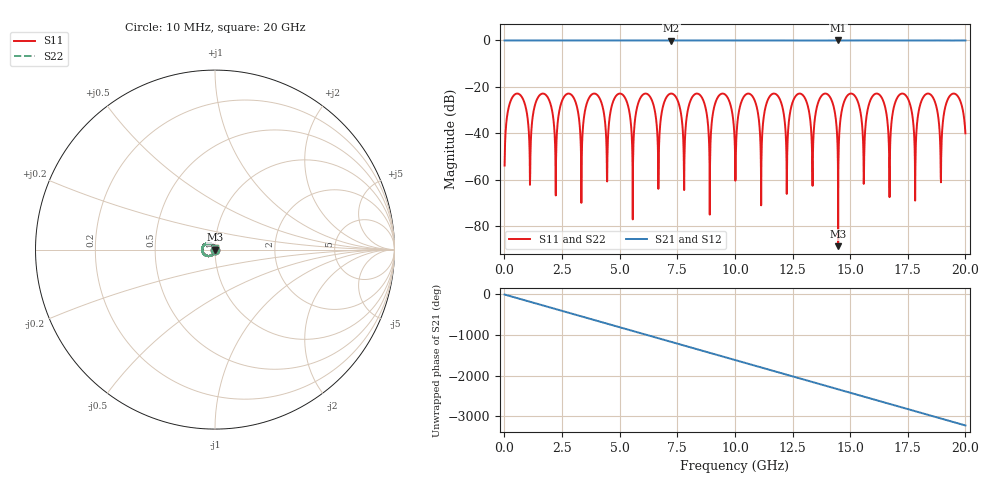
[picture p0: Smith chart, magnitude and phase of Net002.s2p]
! Touchstone generated by fitter/viewer
# HZ S  RI R 5.000000e+001
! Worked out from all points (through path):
!   2000 points, 10 MHz to 20 GHz, reference 50 ohm
!   highest |S21| = 0.00 dB at 14.48 GHz (marker M1); lowest = 0.0 dB at 7.24 GHz (marker M2)
!   group delay of S21, straight-line fit = 449 ps
!   lowest |S11| = -88.5 dB at 14.48 GHz (marker M3), VSWR 1.00, Z = 50 + j0.00377 ohm
!   |S11| at or under -10 dB: start of sweep to end of sweep
!   |S22| runs from -88.5 to -22.8 dB; largest |S21 - S12| = 0
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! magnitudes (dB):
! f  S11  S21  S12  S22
! 10 MHz  -53.8  0.0  0.0  -53.8
! 540 MHz  -22.8  0.0  0.0  -22.8
! 1.11 GHz  -62.1  0.0  0.0  -62.1
! 2.88 GHz  -23.2  0.0  0.0  -23.2
! 3.35 GHz  -55.3  0.0  0.0  -55.3
! 3.9 GHz  -22.8  0.0  0.0  -22.8
! 5.57 GHz  -76.9  0.0  0.0  -76.9
! 6.22 GHz  -23.1  0.0  0.0  -23.1
! 6.68 GHz  -63.8  0.0  0.0  -63.8
! 7.24 GHz  -22.8  0.0  0.0  -22.8
! 10.01 GHz  -50.4  0.0  0.0  -50.4
! 10.58 GHz  -22.8  0.0  0.0  -22.8
! 11.13 GHz  -55.1  0.0  0.0  -55.1
! 13.34 GHz  -45.4  0.0  0.0  -45.4
! 13.94 GHz  -22.8  0.0  0.0  -22.8
! 14.48 GHz  -88.5  0.0  0.0  -88.5
! 15.03 GHz  -22.8  0.0  0.0  -22.8
! 16.67 GHz  -42.3  0.0  0.0  -42.3
! 17.25 GHz  -22.8  0.0  0.0  -22.8
! 17.82 GHz  -68.9  0.0  0.0  -68.9
! 18.35 GHz  -22.9  0.0  0.0  -22.9
! 20 GHz  -39.9  0.0  0.0  -39.9
